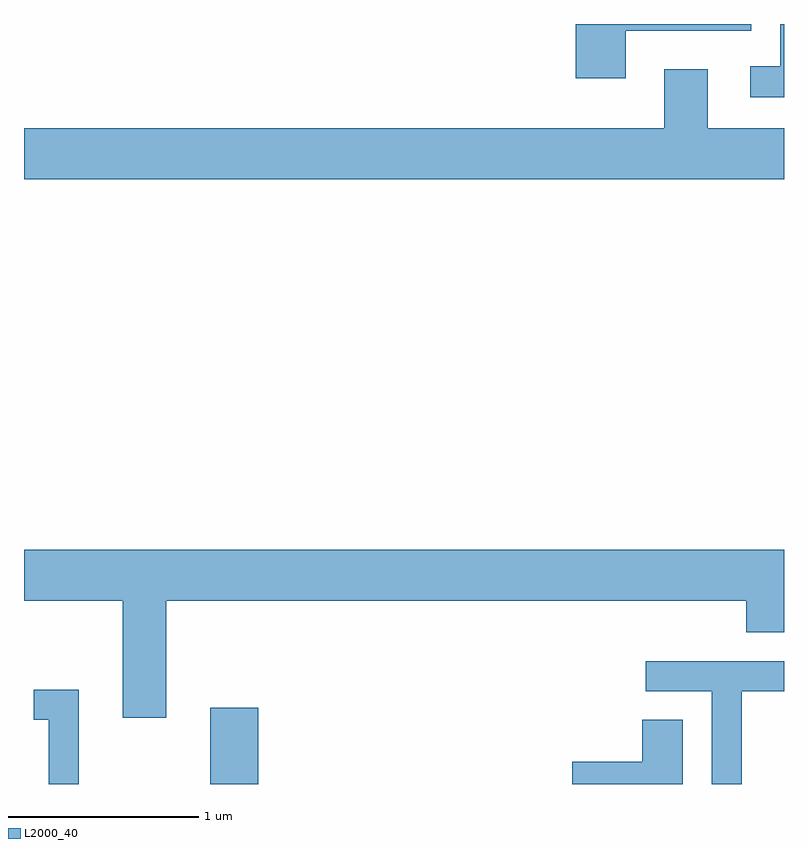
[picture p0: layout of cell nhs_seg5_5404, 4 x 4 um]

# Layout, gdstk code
import gdstk
lib = gdstk.Library(unit=1e-6, precision=1e-09)
def R(c, l, rs):  # rectangles x0, y0, x1, y1
    for r in rs: c.add(gdstk.rectangle(r[:2], r[2:], *l))
def P(c, l, *ps):  # polygons
    for p in ps: c.add(gdstk.Polygon(p, *l))
L2000_40 = (2000, 40)

nhs_seg5_5404 = lib.new_cell('nhs_seg5_5404')
R(nhs_seg5_5404, L2000_40, [(346.591,1438.072,346.844,1438.474)])
P(nhs_seg5_5404, L2000_40, [(349.611,1442.072),(349.591,1442.072),(349.591,1441.849),(349.433,1441.849),(349.433,1441.686),(349.611,1441.686)],
  [(348.779,1442.036),(349.439,1442.036),(349.439,1442.072),(348.516,1442.072),(348.516,1441.786),(348.779,1441.786)],
  [(349.611,1441.524),(349.209,1441.524),(349.209,1441.834),(348.981,1441.834),(348.981,1441.524),(345.611,1441.524),(345.611,1441.256),(349.611,1441.256)],
  [(346.359,1439.036),(349.411,1439.036),(349.411,1438.871),(349.611,1438.871),(349.611,1439.304),(345.611,1439.304),(345.611,1439.036),(346.131,1439.036),(346.131,1438.421),(346.359,1438.421)],
  [(349.389,1438.561),(349.611,1438.561),(349.611,1438.719),(348.883,1438.719),(348.883,1438.561),(349.231,1438.561),(349.231,1438.072),(349.389,1438.072)],
  [(345.899,1438.569),(345.663,1438.569),(345.663,1438.411),(345.741,1438.411),(345.741,1438.072),(345.899,1438.072)],
  [(349.079,1438.409),(348.866,1438.409),(348.866,1438.189),(348.496,1438.189),(348.496,1438.072),(349.079,1438.072)])

lib.write_gds('nhs_seg5_5404.gds')
